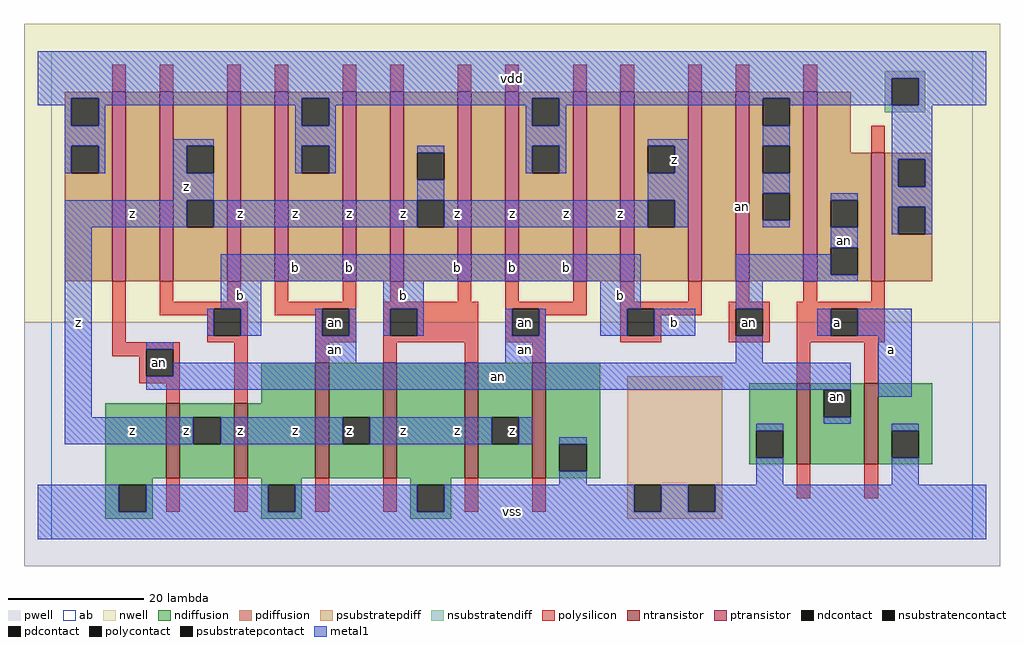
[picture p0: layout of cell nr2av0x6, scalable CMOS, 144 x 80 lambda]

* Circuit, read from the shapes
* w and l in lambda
.subckt nr2av0x6 a an b vdd vss z
M1 z an vss vss nfet w=11 l=2
M2 vss b z vss nfet w=11 l=2
M3 z an vss vss nfet w=17 l=2 m=2
M4 vss b z vss nfet w=17 l=2 m=2
M5 an a vss vss nfet w=12 l=2 m=2
M6 n1 an vdd vdd pfet w=28 l=2
M7 z b n1 vdd pfet w=28 l=2
M8 n2 b z vdd pfet w=28 l=2
M9 vdd an n2 vdd pfet w=28 l=2
M10 n3 an vdd vdd pfet w=28 l=2
M11 z b n3 vdd pfet w=28 l=2
M12 n4 b z vdd pfet w=28 l=2
M13 vdd an n4 vdd pfet w=28 l=2
M14 n5 an vdd vdd pfet w=28 l=2
M15 z b n5 vdd pfet w=28 l=2
M16 n6 b z vdd pfet w=28 l=2
M17 vdd an n6 vdd pfet w=28 l=2
M18 an a vdd vdd pfet w=28 l=2
M19 vdd a an vdd pfet w=19 l=2
.ends

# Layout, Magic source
magic
tech scmos
<< ab >>
rect 0 0 136 72
<< pwell >>
rect -4 -4 140 32
<< nwell >>
rect -4 32 140 76
<< polysilicon >>
rect 9 66 11 70
rect 16 66 18 70
rect 26 66 28 70
rect 33 66 35 70
rect 43 66 45 70
rect 50 66 52 70
rect 60 66 62 70
rect 67 66 69 70
rect 77 66 79 70
rect 84 66 86 70
rect 94 66 96 70
rect 101 66 103 70
rect 111 66 113 70
rect 121 57 123 61
rect 9 29 11 38
rect 16 35 18 38
rect 26 35 28 38
rect 33 35 35 38
rect 43 35 45 38
rect 50 35 52 38
rect 60 35 62 38
rect 67 35 69 38
rect 77 35 79 38
rect 16 34 29 35
rect 16 33 24 34
rect 23 30 24 33
rect 28 30 29 34
rect 33 34 45 35
rect 33 33 40 34
rect 23 29 29 30
rect 9 28 19 29
rect 9 27 14 28
rect 13 24 14 27
rect 18 24 19 28
rect 13 23 19 24
rect 17 20 19 23
rect 27 20 29 29
rect 39 30 40 33
rect 44 30 45 34
rect 39 29 45 30
rect 49 34 63 35
rect 49 30 50 34
rect 54 30 63 34
rect 49 29 63 30
rect 67 34 79 35
rect 67 30 68 34
rect 72 33 79 34
rect 84 35 86 38
rect 94 35 96 38
rect 101 35 103 38
rect 111 35 113 38
rect 121 35 123 38
rect 84 34 96 35
rect 72 30 73 33
rect 67 29 73 30
rect 84 30 85 34
rect 89 33 96 34
rect 100 34 106 35
rect 89 30 90 33
rect 84 29 90 30
rect 100 30 101 34
rect 105 30 106 34
rect 100 29 106 30
rect 110 34 123 35
rect 110 30 115 34
rect 119 30 123 34
rect 110 29 123 30
rect 39 26 41 29
rect 49 26 51 29
rect 61 26 63 29
rect 71 26 73 29
rect 17 4 19 9
rect 27 4 29 9
rect 39 4 41 9
rect 49 4 51 9
rect 61 4 63 9
rect 71 4 73 9
rect 110 23 112 29
rect 120 23 122 29
rect 110 6 112 11
rect 120 6 122 11
<< ndiffusion >>
rect 31 20 39 26
rect 8 9 17 20
rect 19 18 27 20
rect 19 14 21 18
rect 25 14 27 18
rect 19 9 27 14
rect 29 9 39 20
rect 41 18 49 26
rect 41 14 43 18
rect 47 14 49 18
rect 41 9 49 14
rect 51 9 61 26
rect 63 18 71 26
rect 63 14 65 18
rect 69 14 71 18
rect 63 9 71 14
rect 73 14 81 26
rect 73 10 75 14
rect 79 10 81 14
rect 73 9 81 10
rect 8 8 15 9
rect 8 4 10 8
rect 14 4 15 8
rect 31 8 37 9
rect 31 4 32 8
rect 36 4 37 8
rect 53 8 59 9
rect 53 4 54 8
rect 58 4 59 8
rect 103 16 110 23
rect 103 12 104 16
rect 108 12 110 16
rect 103 11 110 12
rect 112 22 120 23
rect 112 18 114 22
rect 118 18 120 22
rect 112 11 120 18
rect 122 16 130 23
rect 122 12 124 16
rect 128 12 130 16
rect 122 11 130 12
rect 8 3 15 4
rect 31 3 37 4
rect 53 3 59 4
<< pdiffusion >>
rect 2 65 9 66
rect 2 61 3 65
rect 7 61 9 65
rect 2 58 9 61
rect 2 54 3 58
rect 7 54 9 58
rect 2 38 9 54
rect 11 38 16 66
rect 18 58 26 66
rect 18 54 20 58
rect 24 54 26 58
rect 18 50 26 54
rect 18 46 20 50
rect 24 46 26 50
rect 18 38 26 46
rect 28 38 33 66
rect 35 65 43 66
rect 35 61 37 65
rect 41 61 43 65
rect 35 58 43 61
rect 35 54 37 58
rect 41 54 43 58
rect 35 38 43 54
rect 45 38 50 66
rect 52 57 60 66
rect 52 53 54 57
rect 58 53 60 57
rect 52 50 60 53
rect 52 46 54 50
rect 58 46 60 50
rect 52 38 60 46
rect 62 38 67 66
rect 69 65 77 66
rect 69 61 71 65
rect 75 61 77 65
rect 69 58 77 61
rect 69 54 71 58
rect 75 54 77 58
rect 69 38 77 54
rect 79 38 84 66
rect 86 58 94 66
rect 86 54 88 58
rect 92 54 94 58
rect 86 50 94 54
rect 86 46 88 50
rect 92 46 94 50
rect 86 38 94 46
rect 96 38 101 66
rect 103 65 111 66
rect 103 61 105 65
rect 109 61 111 65
rect 103 58 111 61
rect 103 54 105 58
rect 109 54 111 58
rect 103 51 111 54
rect 103 47 105 51
rect 109 47 111 51
rect 103 38 111 47
rect 113 57 118 66
rect 113 50 121 57
rect 113 46 115 50
rect 119 46 121 50
rect 113 43 121 46
rect 113 39 115 43
rect 119 39 121 43
rect 113 38 121 39
rect 123 56 130 57
rect 123 52 125 56
rect 129 52 130 56
rect 123 49 130 52
rect 123 45 125 49
rect 129 45 130 49
rect 123 38 130 45
<< metal1 >>
rect -2 68 138 72
rect -2 65 124 68
rect -2 64 3 65
rect 2 61 3 64
rect 7 64 37 65
rect 7 61 8 64
rect 2 58 8 61
rect 36 61 37 64
rect 41 64 71 65
rect 41 61 42 64
rect 2 54 3 58
rect 7 54 8 58
rect 18 58 24 59
rect 18 54 20 58
rect 36 58 42 61
rect 70 61 71 64
rect 75 64 105 65
rect 75 61 76 64
rect 70 58 76 61
rect 109 64 124 65
rect 128 64 138 68
rect 36 54 37 58
rect 41 54 42 58
rect 54 57 58 58
rect 18 50 24 54
rect 70 54 71 58
rect 75 54 76 58
rect 88 58 94 59
rect 92 54 94 58
rect 54 50 58 53
rect 88 50 94 54
rect 2 46 20 50
rect 24 46 54 50
rect 58 46 88 50
rect 92 46 94 50
rect 105 58 109 61
rect 105 51 109 54
rect 124 56 130 64
rect 124 52 125 56
rect 129 52 130 56
rect 105 46 109 47
rect 115 50 119 51
rect 2 18 6 46
rect 115 43 119 46
rect 124 49 130 52
rect 124 45 125 49
rect 129 45 130 49
rect 25 38 87 42
rect 25 34 31 38
rect 49 34 55 38
rect 81 34 87 38
rect 101 39 115 42
rect 101 38 119 39
rect 101 34 105 38
rect 23 30 24 34
rect 28 30 31 34
rect 39 30 40 34
rect 44 30 45 34
rect 49 30 50 34
rect 54 30 55 34
rect 67 30 68 34
rect 72 30 73 34
rect 81 30 85 34
rect 89 30 95 34
rect 113 30 115 34
rect 119 30 127 34
rect 14 28 18 29
rect 39 26 45 30
rect 67 26 73 30
rect 101 26 105 30
rect 18 24 118 26
rect 14 22 118 24
rect 122 21 127 30
rect 2 14 21 18
rect 25 14 43 18
rect 47 14 65 18
rect 69 14 71 18
rect 114 17 118 18
rect 104 16 108 17
rect 75 14 79 15
rect 75 8 79 10
rect 104 8 108 12
rect 124 16 128 17
rect 124 8 128 12
rect -2 4 10 8
rect 14 4 32 8
rect 36 4 54 8
rect 58 4 86 8
rect 90 4 94 8
rect 98 4 138 8
rect -2 0 138 4
<< ntransistor >>
rect 17 9 19 20
rect 27 9 29 20
rect 39 9 41 26
rect 49 9 51 26
rect 61 9 63 26
rect 71 9 73 26
rect 110 11 112 23
rect 120 11 122 23
<< ptransistor >>
rect 9 38 11 66
rect 16 38 18 66
rect 26 38 28 66
rect 33 38 35 66
rect 43 38 45 66
rect 50 38 52 66
rect 60 38 62 66
rect 67 38 69 66
rect 77 38 79 66
rect 84 38 86 66
rect 94 38 96 66
rect 101 38 103 66
rect 111 38 113 66
rect 121 38 123 57
<< polycontact >>
rect 24 30 28 34
rect 14 24 18 28
rect 40 30 44 34
rect 50 30 54 34
rect 68 30 72 34
rect 85 30 89 34
rect 101 30 105 34
rect 115 30 119 34
<< ndcontact >>
rect 21 14 25 18
rect 43 14 47 18
rect 65 14 69 18
rect 75 10 79 14
rect 10 4 14 8
rect 32 4 36 8
rect 54 4 58 8
rect 104 12 108 16
rect 114 18 118 22
rect 124 12 128 16
<< pdcontact >>
rect 3 61 7 65
rect 3 54 7 58
rect 20 54 24 58
rect 20 46 24 50
rect 37 61 41 65
rect 37 54 41 58
rect 54 53 58 57
rect 54 46 58 50
rect 71 61 75 65
rect 71 54 75 58
rect 88 54 92 58
rect 88 46 92 50
rect 105 61 109 65
rect 105 54 109 58
rect 105 47 109 51
rect 115 46 119 50
rect 115 39 119 43
rect 125 52 129 56
rect 125 45 129 49
<< psubstratepcontact >>
rect 86 4 90 8
rect 94 4 98 8
<< nsubstratencontact >>
rect 124 64 128 68
<< psubstratepdiff >>
rect 85 8 99 24
rect 85 4 86 8
rect 90 4 94 8
rect 98 4 99 8
rect 85 3 99 4
<< nsubstratendiff >>
rect 123 68 129 69
rect 123 64 124 68
rect 128 64 129 68
rect 123 63 129 64
<< labels >>
rlabel polycontact 16 26 16 26 6 an
rlabel polycontact 42 32 42 32 6 an
rlabel polycontact 70 32 70 32 6 an
rlabel ptransistor 102 49 102 49 6 an
rlabel metal1 12 16 12 16 6 z
rlabel metal1 20 16 20 16 6 z
rlabel metal1 4 32 4 32 6 z
rlabel metal1 20 52 20 52 6 z
rlabel metal1 12 48 12 48 6 z
rlabel metal1 36 16 36 16 6 z
rlabel ndcontact 44 16 44 16 6 z
rlabel metal1 28 16 28 16 6 z
rlabel metal1 42 28 42 28 6 an
rlabel metal1 28 36 28 36 6 b
rlabel metal1 36 40 36 40 6 b
rlabel metal1 44 40 44 40 6 b
rlabel metal1 28 48 28 48 6 z
rlabel metal1 36 48 36 48 6 z
rlabel metal1 44 48 44 48 6 z
rlabel metal1 68 4 68 4 6 vss
rlabel metal1 60 16 60 16 6 z
rlabel ndcontact 68 16 68 16 6 z
rlabel metal1 52 16 52 16 6 z
rlabel metal1 70 28 70 28 6 an
rlabel metal1 52 36 52 36 6 b
rlabel metal1 60 40 60 40 6 b
rlabel metal1 68 40 68 40 6 b
rlabel metal1 76 40 76 40 6 b
rlabel metal1 52 48 52 48 6 z
rlabel metal1 60 48 60 48 6 z
rlabel metal1 68 48 68 48 6 z
rlabel metal1 76 48 76 48 6 z
rlabel metal1 68 68 68 68 6 vdd
rlabel metal1 92 32 92 32 6 b
rlabel polycontact 103 32 103 32 6 an
rlabel metal1 84 36 84 36 6 b
rlabel metal1 84 48 84 48 6 z
rlabel metal1 92 56 92 56 6 z
rlabel metal1 66 24 66 24 6 an
rlabel ndcontact 116 21 116 21 6 an
rlabel polycontact 116 32 116 32 6 a
rlabel metal1 124 28 124 28 6 a
rlabel metal1 117 44 117 44 6 an
<< end >>
